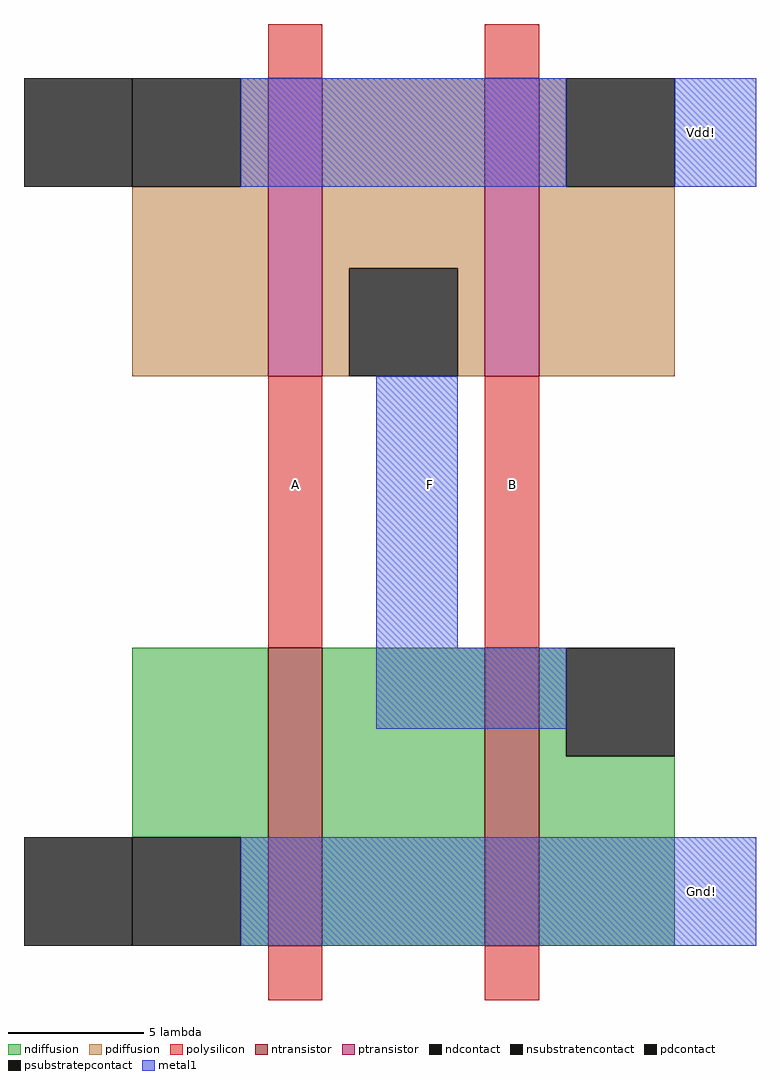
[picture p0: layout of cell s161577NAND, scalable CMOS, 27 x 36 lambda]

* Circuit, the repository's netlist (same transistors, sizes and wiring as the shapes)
* SPICE3 file created from s161577NAND.ext - technology: scmos

.option scale=1u
.include scmos_spice.prm

M1000 F A Vdd Vdd pfet w=11 l=2
+  ad=66 pd=34 as=110 ps=64
M1001 Vdd B F Vdd pfet w=11 l=2
+  ad=0 pd=0 as=0 ps=0
M1002 a_n6_n15# A Gnd Gnd nfet w=11 l=2
+  ad=66 pd=34 as=55 ps=32
M1003 F B a_n6_n15# Gnd nfet w=11 l=2
+  ad=55 pd=32 as=0 ps=0

V11 Vdd Gnd 3.3
* V01 A Gnd PULSE(0 3.3 1ns 0.2ns 0.2ns 8ns 16.2ns)
* V02 B Gnd PULSE(0 3.3 5ns 0.2ns 0.2ns 8ns 16.2ns)
V01 A Gnd EXP(0 3.3 4ns 0.2ns 16ns 0.2ns)
V02 B Gnd EXP(0 3.3 10ns 0.2ns 22ns 0.2ns)

.TRAN 0.1ns 25ns

.end

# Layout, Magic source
magic
tech scmos
<< polysilicon >>
rect -8 17 -6 19
rect 0 17 2 19
rect -8 -4 -6 6
rect 0 -4 2 6
rect -8 -17 -6 -15
rect 0 -17 2 -15
<< ndiffusion >>
rect -13 -11 -8 -4
rect -9 -15 -8 -11
rect -6 -15 0 -4
rect 2 -8 3 -4
rect 2 -15 7 -8
<< pdiffusion >>
rect -9 13 -8 17
rect -13 6 -8 13
rect -6 10 0 17
rect -6 6 -5 10
rect -1 6 0 10
rect 2 13 3 17
rect 2 6 7 13
<< metal1 >>
rect -9 13 3 17
rect 7 13 10 17
rect -4 -4 -1 6
rect -4 -7 3 -4
rect -9 -15 10 -11
<< ntransistor >>
rect -8 -15 -6 -4
rect 0 -15 2 -4
<< ptransistor >>
rect -8 6 -6 17
rect 0 6 2 17
<< ndcontact >>
rect -13 -15 -9 -11
rect 3 -8 7 -4
<< pdcontact >>
rect -13 13 -9 17
rect -5 6 -1 10
rect 3 13 7 17
<< psubstratepcontact >>
rect -17 -15 -13 -11
<< nsubstratencontact >>
rect -17 13 -13 17
<< labels >>
rlabel metal1 8 15 8 15 6 Vdd!
rlabel metal1 8 -13 8 -13 7 Gnd!
rlabel polysilicon -7 2 -7 2 1 A
rlabel polysilicon 1 2 1 2 1 B
rlabel metal1 -2 2 -2 2 1 F
<< end >>
